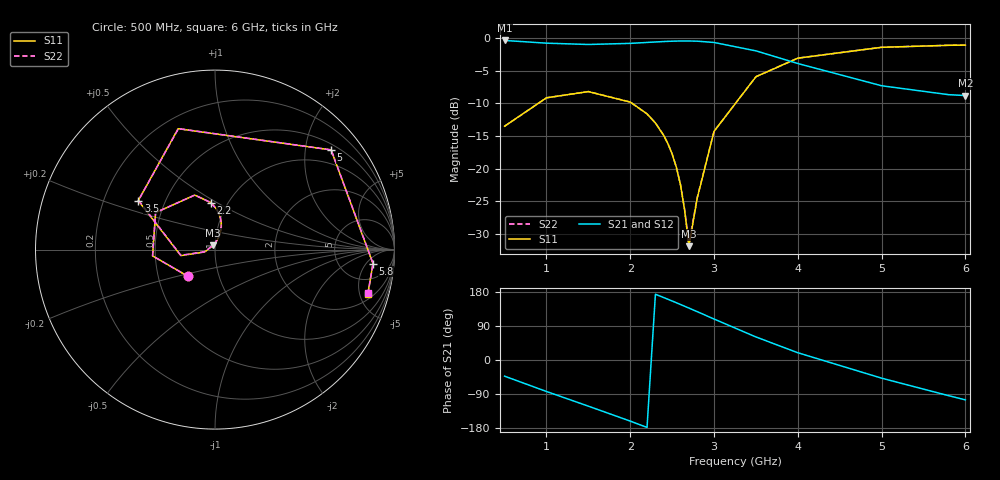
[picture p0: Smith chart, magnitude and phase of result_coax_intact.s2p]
! Original 10 mm PCB, no ground openings; simplified BWSMA connectors included
! Reference planes: coax annuli x=-8.10 and 28.26 mm; renormalized to 50 ohm
! 20 directly solved frequencies; first-order FEM; no de-embedding
# Hz S RI R 50
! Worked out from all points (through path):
!   20 points, 500 MHz to 6 GHz, reference 50 ohm
!   highest |S21| = -0.33 dB at 500 MHz (marker M1); lowest = -8.8 dB at 6 GHz (marker M2)
!   lowest |S11| = -31.9 dB at 2.7 GHz (marker M3), VSWR 1.05, Z = 49 + j2.3 ohm
!   |S11| at or under -10 dB: start of sweep to 900.6 MHz; 2.023 GHz to 3.255 GHz (1.232 GHz wide, 46.7 % of centre)
!   |S22| runs from -31.5 to -1.0 dB; largest |S21 - S12| = 3.2e-12
!   S11 on the Smith chart (normalised r, x): 500 MHz: 0.71, -0.22; 2.2 GHz: 0.84, +0.47; 3.5 GHz: 0.35, +0.26; 5 GHz: 0.63, +2.57; 5.8 GHz: 11, -8; 6 GHz: 2.62, -5.98
5e8  -0.1499 -0.1491  0.7075 -0.6525  0.7075 -0.6525  -0.1499 -0.149
1e9  -0.3477 -0.0353  0.1099 -0.9108  0.1099 -0.9108  -0.3476 -0.0351
1.5e9  -0.3312 0.2058  -0.473 -0.7613  -0.473 -0.7613  -0.331 0.206
2e9  -0.1125 0.3038  -0.8657 -0.2935  -0.8657 -0.2935  -0.1126 0.3038
2.2e9  -0.0226 0.2618  -0.9286 -0.0338  -0.9286 -0.0338  -0.023 0.2619
2.3e9  0.0103 0.2236  -0.9309 0.1063  -0.9309 0.1063  0.00976 0.2238
2.4e9  0.0305 0.1766  -0.9106 0.2494  -0.9106 0.2494  0.0299 0.1769
2.45e9  0.0349 0.1509  -0.8912 0.3208  -0.8912 0.3208  0.0342 0.1513
2.5e9  0.0351 0.1243  -0.8654 0.3913  -0.8654 0.3913  0.0343 0.1248
2.55e9  0.0308 0.0976  -0.8332 0.4602  -0.8332 0.4602  0.03 0.0982
2.6e9  0.0219 0.0714  -0.7945 0.5268  -0.7945 0.5268  0.0211 0.0721
2.65e9  0.00841 0.0465  -0.7493 0.5902  -0.7493 0.5902  0.00758 0.0473
2.7e9  -0.00961 0.0235  -0.698 0.6497  -0.698 0.6497  -0.0104 0.0245
2.8e9  -0.0582 -0.0135  -0.5783 0.7537  -0.5783 0.7537  -0.0589 -0.0122
3e9  -0.1903 -0.0334  -0.2887 0.8829  -0.2887 0.8829  -0.1907 -0.0317
3.5e9  -0.4275 0.2728  0.3909 0.699  0.3909 0.699  -0.4264 0.2747
4e9  -0.2055 0.6734  0.6048 0.2104  0.6048 0.2104  -0.2038 0.6741
5e9  0.6471 0.5554  0.2895 -0.3209  0.2895 -0.3209  0.6473 0.5556
5.8e9  0.8802 -0.0785  -0.0267 -0.3683  -0.0267 -0.3683  0.8806 -0.0771
6e9  0.8518 -0.245  -0.0957 -0.3508  -0.0957 -0.3508  0.8525 -0.2435
